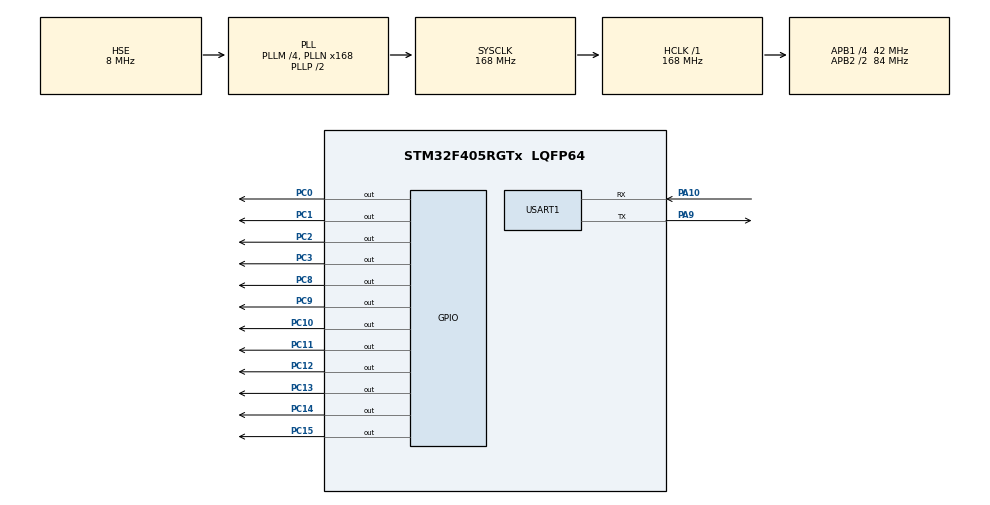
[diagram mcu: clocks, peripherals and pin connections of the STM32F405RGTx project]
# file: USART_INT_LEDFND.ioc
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Mcu.Family=STM32F4
Mcu.Name=STM32F405RGTx
Mcu.Package=LQFP64
NVIC.PriorityGroup=NVIC_PRIORITYGROUP_4
NVIC.USART1_IRQn=true\:0\:0\:false\:false\:true\:true\:true
PA10.Mode=Asynchronous
PA10.Signal=USART1_RX
PA13.Mode=Serial_Wire
PA13.Signal=SYS_JTMS-SWDIO
PA14.Mode=Serial_Wire
PA14.Signal=SYS_JTCK-SWCLK
PA9.Mode=Asynchronous
PA9.Signal=USART1_TX
PC0.Signal=GPIO_Output
PC1.Signal=GPIO_Output
PC10.Signal=GPIO_Output
PC11.Signal=GPIO_Output
PC12.Signal=GPIO_Output
PC13-ANTI_TAMP.Signal=GPIO_Output
PC14-OSC32_IN.Signal=GPIO_Output
PC15-OSC32_OUT.Signal=GPIO_Output
PC2.Signal=GPIO_Output
PC3.Signal=GPIO_Output
PC8.Signal=GPIO_Output
PC9.Signal=GPIO_Output
PH0-OSC_IN.Mode=HSE-External-Oscillator
PH0-OSC_IN.Signal=RCC_OSC_IN
PH1-OSC_OUT.Mode=HSE-External-Oscillator
PH1-OSC_OUT.Signal=RCC_OSC_OUT
ProjectManager.HeapSize=0x200
ProjectManager.StackSize=0x400
ProjectManager.TargetToolchain=EWARM V8.32
RCC.48MHZClocksFreq_Value=84000000
RCC.AHBFreq_Value=168000000
RCC.APB1CLKDivider=RCC_HCLK_DIV4
RCC.APB1Freq_Value=42000000
RCC.APB1TimFreq_Value=84000000
RCC.APB2CLKDivider=RCC_HCLK_DIV2
RCC.APB2Freq_Value=84000000
RCC.APB2TimFreq_Value=168000000
RCC.CortexFreq_Value=168000000
RCC.HCLKFreq_Value=168000000
RCC.HSE_VALUE=8000000
RCC.HSI_VALUE=16000000
RCC.LSE_VALUE=32768
RCC.PLLM=4
RCC.PLLN=168
RCC.PLLSourceVirtual=RCC_PLLSOURCE_HSE
RCC.SYSCLKFreq_VALUE=168000000
RCC.SYSCLKSource=RCC_SYSCLKSOURCE_PLLCLK
RCC.VCOOutputFreq_Value=336000000
USART1.VirtualMode=VM_ASYNC
board=custom

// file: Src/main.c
/* USER CODE BEGIN Header */
/**
  ******************************************************************************
  * @file           : main.c
  * @brief          : Main program body
  ******************************************************************************
  * @attention
  *
  * <h2><center>&copy; Copyright (c) 2020 STMicroelectronics.
  * All rights reserved.</center></h2>
  *
  * This software component is licensed by ST under BSD 3-Clause license,
  * the "License"; You may not use this file except in compliance with the
  * License. You may obtain a copy of the License at:
  *                        opensource.org/licenses/BSD-3-Clause
  *
  ******************************************************************************
  */
/* USER CODE END Header */

#include "main.h"
#include "usart.h"
#include "gpio.h"

/* USER CODE BEGIN PV */
uint8_t rxData;
unsigned char LED_STOP = 1;
unsigned char FND_STOP = 1;
/* USER CODE END PV */

void SystemClock_Config(void);

int main(void)
{
  /* USER CODE BEGIN 1 */
  unsigned int FND_DATA_TBL[] = {0x3F00, 0x0600, 0x5B00, 0x4F00, 0x6600, 0x6D00,
                                                      0x7C00, 0x0700, 0x7F00, 0x6700, 0x7700, 0x7C00,
                                                      0x3900, 0x5E00, 0x7900, 0x7100, 0x0800, 0x8000};
  unsigned char cnt = 0;
  /* USER CODE END 1 */

  /* MCU Configuration--------------------------------------------------------*/

  /* Reset of all peripherals, Initializes the Flash interface and the Systick. */
  HAL_Init();

  /* Configure the system clock */
  SystemClock_Config();

  /* Initialize all configured peripherals */
  MX_GPIO_Init();
  MX_USART1_UART_Init();
  /* USER CODE BEGIN 2 */
  HAL_UART_Receive_IT(&huart1, &rxData, 1); // main에서 인터럽트를 한번 실행(open)해줘야 동작함
  /* USER CODE END 2 */

  /* Infinite loop */
  /* USER CODE BEGIN WHILE */
  while (1)
  {
    if(LED_STOP == 1)
      HAL_GPIO_WritePin(GPIOC, GPIO_PIN_0 | GPIO_PIN_1 | GPIO_PIN_2 | GPIO_PIN_3, GPIO_PIN_RESET);
    else
      HAL_GPIO_WritePin(GPIOC, GPIO_PIN_0 | GPIO_PIN_1 | GPIO_PIN_2 | GPIO_PIN_3, GPIO_PIN_SET);

    if(FND_STOP == 1)
    {
      HAL_GPIO_WritePin(GPIOC, FND_DATA_TBL[cnt-1], GPIO_PIN_RESET);
    }
    else
    {
       HAL_GPIO_WritePin(GPIOC, FND_DATA_TBL[cnt], GPIO_PIN_SET);
       HAL_Delay(500);
       HAL_GPIO_WritePin(GPIOC, FND_DATA_TBL[cnt], GPIO_PIN_RESET);
       cnt++;
       if(cnt>17) cnt = 0;
    }
    /* USER CODE END WHILE */

  }
}

void SystemClock_Config(void)
{
  RCC_OscInitTypeDef RCC_OscInitStruct = {0};
  RCC_ClkInitTypeDef RCC_ClkInitStruct = {0};

  /** Configure the main internal regulator output voltage
  */
  __HAL_RCC_PWR_CLK_ENABLE();
  __HAL_PWR_VOLTAGESCALING_CONFIG(PWR_REGULATOR_VOLTAGE_SCALE1);
  /** Initializes the CPU, AHB and APB busses clocks
  */
  RCC_OscInitStruct.OscillatorType = RCC_OSCILLATORTYPE_HSE;
  RCC_OscInitStruct.HSEState = RCC_HSE_ON;
  RCC_OscInitStruct.PLL.PLLState = RCC_PLL_ON;
  RCC_OscInitStruct.PLL.PLLSource = RCC_PLLSOURCE_HSE;
  RCC_OscInitStruct.PLL.PLLM = 4;
  RCC_OscInitStruct.PLL.PLLN = 168;
  RCC_OscInitStruct.PLL.PLLP = RCC_PLLP_DIV2;
  RCC_OscInitStruct.PLL.PLLQ = 4;
  if (HAL_RCC_OscConfig(&RCC_OscInitStruct) != HAL_OK)
  {
    Error_Handler();
  }
  /** Initializes the CPU, AHB and APB busses clocks
  */
  RCC_ClkInitStruct.ClockType = RCC_CLOCKTYPE_HCLK|RCC_CLOCKTYPE_SYSCLK
                              |RCC_CLOCKTYPE_PCLK1|RCC_CLOCKTYPE_PCLK2;
  RCC_ClkInitStruct.SYSCLKSource = RCC_SYSCLKSOURCE_PLLCLK;
  RCC_ClkInitStruct.AHBCLKDivider = RCC_SYSCLK_DIV1;
  RCC_ClkInitStruct.APB1CLKDivider = RCC_HCLK_DIV4;
  RCC_ClkInitStruct.APB2CLKDivider = RCC_HCLK_DIV2;

  if (HAL_RCC_ClockConfig(&RCC_ClkInitStruct, FLASH_LATENCY_5) != HAL_OK)
  {
    Error_Handler();
  }
}

/* USER CODE BEGIN 4 */
void HAL_UART_RxCpltCallback(UART_HandleTypeDef *huart)
{
  if(huart->Instance == USART1)
  {
    HAL_UART_Receive_IT(&huart1, &rxData, 1);
    HAL_UART_Transmit(&huart1, &rxData, 1, 10);

    if(rxData == '1') LED_STOP=0;
    else if(rxData == '2') LED_STOP=1;
    else if(rxData == '3') FND_STOP=0;
    else if(rxData == '4') FND_STOP=1;

  }
}
/* USER CODE END 4 */

void Error_Handler(void)
{
}

/************************ (C) COPYRIGHT STMicroelectronics *****END OF FILE****/
